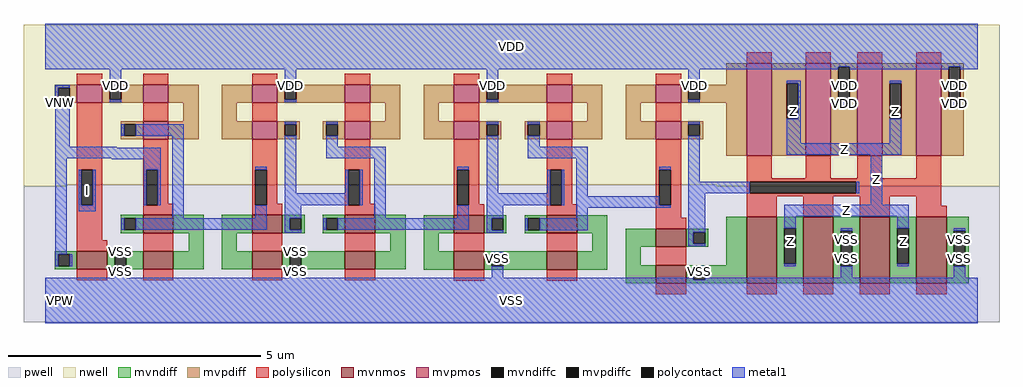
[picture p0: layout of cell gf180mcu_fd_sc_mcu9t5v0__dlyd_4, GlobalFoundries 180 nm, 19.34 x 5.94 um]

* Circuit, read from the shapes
.subckt gf180mcu_fd_sc_mcu9t5v0__dlyd_4 I Z VDD VNW VPW VSS
XM1 VSS I n1 VPW nfet_06v0 w=0.36u l=0.6u
XM2 n2 n1 VSS VPW nfet_06v0 w=0.36u l=0.6u
XM3 n2 n1 n3 VPW nfet_06v0 w=0.36u l=0.6u
XM4 VSS n3 n4 VPW nfet_06v0 w=0.36u l=0.6u
XM5 n5 n3 n4 VPW nfet_06v0 w=0.36u l=0.6u
XM6 n6 n5 VSS VPW nfet_06v0 w=0.36u l=0.6u
XM7 n6 n5 n7 VPW nfet_06v0 w=0.36u l=0.6u
XM8 VSS n7 n8 VPW nfet_06v0 w=0.36u l=0.6u
XM9 n9 n7 n8 VPW nfet_06v0 w=0.36u l=0.6u
XM10 n10 n9 VSS VPW nfet_06v0 w=0.36u l=0.6u
XM11 n10 n9 n11 VPW nfet_06v0 w=0.36u l=0.6u
XM12 VSS n11 n12 VPW nfet_06v0 w=0.36u l=0.6u
XM13 n13 n11 n12 VPW nfet_06v0 w=0.36u l=0.6u
XM14 Z n13 VSS VPW nfet_06v0 w=1.32u l=0.6u m=4
XM15 VDD I n1 VNW pfet_06v0 w=0.36u l=0.5u
XM16 n14 n1 n3 VNW pfet_06v0 w=0.36u l=0.5u
XM17 n14 n1 VDD VNW pfet_06v0 w=0.36u l=0.5u
XM18 n5 n3 n15 VNW pfet_06v0 w=0.36u l=0.5u
XM19 VDD n3 n15 VNW pfet_06v0 w=0.36u l=0.5u
XM20 n16 n5 n7 VNW pfet_06v0 w=0.36u l=0.5u
XM21 n16 n5 VDD VNW pfet_06v0 w=0.36u l=0.5u
XM22 n9 n7 n17 VNW pfet_06v0 w=0.36u l=0.5u
XM23 VDD n7 n17 VNW pfet_06v0 w=0.36u l=0.5u
XM24 n18 n9 n11 VNW pfet_06v0 w=0.36u l=0.5u
XM25 n18 n9 VDD VNW pfet_06v0 w=0.36u l=0.5u
XM26 n13 n11 n19 VNW pfet_06v0 w=0.36u l=0.5u
XM27 VDD n11 n19 VNW pfet_06v0 w=0.36u l=0.5u
XM28 Z n13 VDD VNW pfet_06v0 w=1.83u l=0.5u m=4
.ends

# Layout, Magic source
magic
tech gf180mcuD
magscale 1 10
<< nwell >>
rect -86 460 3782 1094
rect -86 453 86 460
rect 2662 453 3782 460
<< pwell >>
rect 86 453 2662 460
rect -86 -86 3782 453
<< mvnmos >>
rect 388 268 508 340
rect 126 124 246 196
rect 388 124 508 196
rect 820 268 940 340
rect 1188 268 1308 340
rect 820 124 940 196
rect 1188 124 1308 196
rect 1620 267 1740 339
rect 1988 267 2108 339
rect 1620 123 1740 195
rect 1988 123 2108 195
rect 2420 213 2540 285
rect 2420 69 2540 141
rect 2780 69 2900 333
rect 3004 69 3124 333
rect 3228 69 3348 333
rect 3452 69 3572 333
<< mvpmos >>
rect 126 784 226 856
rect 388 784 488 856
rect 388 640 488 712
rect 820 784 920 856
rect 1188 784 1288 856
rect 820 640 920 712
rect 1188 640 1288 712
rect 1620 784 1720 856
rect 1988 784 2088 856
rect 1620 640 1720 712
rect 1988 640 2088 712
rect 2420 784 2520 856
rect 2420 640 2520 712
rect 2780 574 2880 940
rect 3014 574 3114 940
rect 3218 574 3318 940
rect 3452 574 3552 940
<< mvndiff >>
rect 300 327 388 340
rect 300 281 313 327
rect 359 281 388 327
rect 300 268 388 281
rect 508 268 628 340
rect 568 196 628 268
rect 38 183 126 196
rect 38 137 51 183
rect 97 137 126 183
rect 38 124 126 137
rect 246 183 388 196
rect 246 137 275 183
rect 321 137 388 183
rect 246 124 388 137
rect 508 124 628 196
rect 700 268 820 340
rect 940 327 1028 340
rect 940 281 969 327
rect 1015 281 1028 327
rect 940 268 1028 281
rect 1100 327 1188 340
rect 1100 281 1113 327
rect 1159 281 1188 327
rect 1100 268 1188 281
rect 1308 268 1428 340
rect 700 196 760 268
rect 1368 196 1428 268
rect 700 124 820 196
rect 940 183 1188 196
rect 940 137 969 183
rect 1015 137 1188 183
rect 940 124 1188 137
rect 1308 124 1428 196
rect 1500 267 1620 339
rect 1740 326 1828 339
rect 1740 280 1769 326
rect 1815 280 1828 326
rect 1740 267 1828 280
rect 1900 326 1988 339
rect 1900 280 1913 326
rect 1959 280 1988 326
rect 1900 267 1988 280
rect 2108 267 2228 339
rect 1500 195 1560 267
rect 2168 195 2228 267
rect 1500 123 1620 195
rect 1740 182 1988 195
rect 1740 136 1769 182
rect 1815 136 1988 182
rect 1740 123 1988 136
rect 2108 123 2228 195
rect 2300 213 2420 285
rect 2540 272 2628 285
rect 2540 226 2569 272
rect 2615 226 2628 272
rect 2540 213 2628 226
rect 2300 141 2360 213
rect 2700 141 2780 333
rect 2300 69 2420 141
rect 2540 128 2780 141
rect 2540 82 2569 128
rect 2615 82 2780 128
rect 2540 69 2780 82
rect 2900 287 3004 333
rect 2900 147 2929 287
rect 2975 147 3004 287
rect 2900 69 3004 147
rect 3124 277 3228 333
rect 3124 137 3153 277
rect 3199 137 3228 277
rect 3124 69 3228 137
rect 3348 287 3452 333
rect 3348 147 3377 287
rect 3423 147 3452 287
rect 3348 69 3452 147
rect 3572 277 3660 333
rect 3572 137 3601 277
rect 3647 137 3660 277
rect 3572 69 3660 137
<< mvpdiff >>
rect 2700 856 2780 940
rect 38 843 126 856
rect 38 797 51 843
rect 97 797 126 843
rect 38 784 126 797
rect 226 843 388 856
rect 226 797 255 843
rect 301 797 388 843
rect 226 784 388 797
rect 488 784 608 856
rect 548 712 608 784
rect 300 699 388 712
rect 300 653 313 699
rect 359 653 388 699
rect 300 640 388 653
rect 488 640 608 712
rect 700 784 820 856
rect 920 843 1188 856
rect 920 797 949 843
rect 995 797 1188 843
rect 920 784 1188 797
rect 1288 784 1408 856
rect 700 712 760 784
rect 1348 712 1408 784
rect 700 640 820 712
rect 920 699 1008 712
rect 920 653 949 699
rect 995 653 1008 699
rect 920 640 1008 653
rect 1100 699 1188 712
rect 1100 653 1113 699
rect 1159 653 1188 699
rect 1100 640 1188 653
rect 1288 640 1408 712
rect 1500 784 1620 856
rect 1720 843 1988 856
rect 1720 797 1749 843
rect 1795 797 1988 843
rect 1720 784 1988 797
rect 2088 784 2208 856
rect 1500 712 1560 784
rect 2148 712 2208 784
rect 1500 640 1620 712
rect 1720 699 1808 712
rect 1720 653 1749 699
rect 1795 653 1808 699
rect 1720 640 1808 653
rect 1900 699 1988 712
rect 1900 653 1913 699
rect 1959 653 1988 699
rect 1900 640 1988 653
rect 2088 640 2208 712
rect 2300 784 2420 856
rect 2520 843 2780 856
rect 2520 797 2549 843
rect 2595 797 2780 843
rect 2520 784 2780 797
rect 2300 712 2360 784
rect 2300 640 2420 712
rect 2520 699 2608 712
rect 2520 653 2549 699
rect 2595 653 2608 699
rect 2520 640 2608 653
rect 2700 574 2780 784
rect 2880 861 3014 940
rect 2880 721 2939 861
rect 2985 721 3014 861
rect 2880 574 3014 721
rect 3114 927 3218 940
rect 3114 787 3143 927
rect 3189 787 3218 927
rect 3114 574 3218 787
rect 3318 861 3452 940
rect 3318 721 3347 861
rect 3393 721 3452 861
rect 3318 574 3452 721
rect 3552 927 3640 940
rect 3552 787 3581 927
rect 3627 787 3640 927
rect 3552 574 3640 787
<< mvndiffc >>
rect 313 281 359 327
rect 51 137 97 183
rect 275 137 321 183
rect 969 281 1015 327
rect 1113 281 1159 327
rect 969 137 1015 183
rect 1769 280 1815 326
rect 1913 280 1959 326
rect 1769 136 1815 182
rect 2569 226 2615 272
rect 2569 82 2615 128
rect 2929 147 2975 287
rect 3153 137 3199 277
rect 3377 147 3423 287
rect 3601 137 3647 277
<< mvpdiffc >>
rect 51 797 97 843
rect 255 797 301 843
rect 313 653 359 699
rect 949 797 995 843
rect 949 653 995 699
rect 1113 653 1159 699
rect 1749 797 1795 843
rect 1749 653 1795 699
rect 1913 653 1959 699
rect 2549 797 2595 843
rect 2549 653 2595 699
rect 2939 721 2985 861
rect 3143 787 3189 927
rect 3347 721 3393 861
rect 3581 787 3627 927
<< polysilicon >>
rect 2780 940 2880 984
rect 3014 940 3114 984
rect 3218 940 3318 984
rect 3452 940 3552 984
rect 126 856 226 900
rect 388 856 488 900
rect 820 856 920 900
rect 1188 856 1288 900
rect 1620 856 1720 900
rect 1988 856 2088 900
rect 2420 856 2520 900
rect 126 519 226 784
rect 388 712 488 784
rect 820 712 920 784
rect 1188 712 1288 784
rect 1620 712 1720 784
rect 1988 712 2088 784
rect 2420 712 2520 784
rect 126 379 143 519
rect 189 379 226 519
rect 126 240 226 379
rect 388 519 488 640
rect 388 379 401 519
rect 447 384 488 519
rect 820 519 920 640
rect 447 379 508 384
rect 388 340 508 379
rect 820 379 833 519
rect 879 384 920 519
rect 1188 519 1288 640
rect 879 379 940 384
rect 820 340 940 379
rect 1188 379 1201 519
rect 1247 384 1288 519
rect 1620 519 1720 640
rect 1247 379 1308 384
rect 1188 340 1308 379
rect 1620 379 1633 519
rect 1679 383 1720 519
rect 1988 519 2088 640
rect 1679 379 1740 383
rect 126 196 246 240
rect 388 196 508 268
rect 1620 339 1740 379
rect 1988 379 2001 519
rect 2047 383 2088 519
rect 2420 519 2520 640
rect 2047 379 2108 383
rect 1988 339 2108 379
rect 2420 379 2433 519
rect 2479 379 2520 519
rect 820 196 940 268
rect 1188 196 1308 268
rect 2420 329 2520 379
rect 2780 485 2880 574
rect 3014 485 3114 574
rect 3218 485 3318 574
rect 3452 485 3552 574
rect 2780 472 3552 485
rect 2780 426 2793 472
rect 3215 426 3552 472
rect 2780 413 3552 426
rect 2780 333 2900 413
rect 3004 333 3124 413
rect 3228 333 3348 413
rect 3452 377 3552 413
rect 3452 333 3572 377
rect 2420 285 2540 329
rect 1620 195 1740 267
rect 1988 195 2108 267
rect 126 80 246 124
rect 388 80 508 124
rect 820 80 940 124
rect 1188 80 1308 124
rect 2420 141 2540 213
rect 1620 79 1740 123
rect 1988 79 2108 123
rect 2420 25 2540 69
rect 2780 25 2900 69
rect 3004 25 3124 69
rect 3228 25 3348 69
rect 3452 25 3572 69
<< polycontact >>
rect 143 379 189 519
rect 401 379 447 519
rect 833 379 879 519
rect 1201 379 1247 519
rect 1633 379 1679 519
rect 2001 379 2047 519
rect 2433 379 2479 519
rect 2793 426 3215 472
<< metal1 >>
rect 0 927 3696 1098
rect 0 918 3143 927
rect 40 843 97 854
rect 40 797 51 843
rect 40 611 97 797
rect 255 843 301 918
rect 255 786 301 797
rect 949 843 995 918
rect 949 786 995 797
rect 1749 843 1795 918
rect 1749 786 1795 797
rect 2549 843 2595 918
rect 2549 786 2595 797
rect 2939 861 2994 872
rect 2985 721 2994 861
rect 3189 918 3581 927
rect 3143 776 3189 787
rect 3347 861 3393 872
rect 949 699 995 710
rect 302 653 313 699
rect 359 653 550 699
rect 40 607 283 611
rect 40 565 458 607
rect 40 183 86 565
rect 264 561 458 565
rect 390 519 458 561
rect 132 379 143 519
rect 189 379 200 519
rect 390 379 401 519
rect 447 379 458 519
rect 132 354 200 379
rect 504 327 550 653
rect 833 519 879 530
rect 833 327 879 379
rect 302 281 313 327
rect 359 281 879 327
rect 949 425 995 653
rect 1113 699 1159 710
rect 1113 611 1159 653
rect 1749 699 1795 710
rect 1113 565 1350 611
rect 1190 425 1201 519
rect 949 379 1201 425
rect 1247 379 1258 519
rect 949 327 1015 379
rect 1304 327 1350 565
rect 1633 519 1679 530
rect 1633 327 1679 379
rect 949 281 969 327
rect 1102 281 1113 327
rect 1159 281 1679 327
rect 1749 425 1795 653
rect 1913 699 1959 710
rect 1913 611 1959 653
rect 2549 699 2595 710
rect 1913 565 2150 611
rect 1990 425 2001 519
rect 1749 379 2001 425
rect 2047 379 2058 519
rect 2104 414 2150 565
rect 2433 519 2479 530
rect 2104 379 2433 414
rect 1749 326 1815 379
rect 2104 368 2479 379
rect 2549 472 2595 653
rect 2939 624 2994 721
rect 3627 918 3696 927
rect 3581 776 3627 787
rect 3347 624 3393 721
rect 2939 578 3393 624
rect 2549 426 2793 472
rect 3215 426 3226 472
rect 2104 326 2150 368
rect 949 270 1015 281
rect 1749 280 1769 326
rect 1902 280 1913 326
rect 1959 280 2150 326
rect 1749 269 1815 280
rect 2549 272 2615 426
rect 3272 380 3318 578
rect 2549 226 2569 272
rect 2549 215 2615 226
rect 2929 334 3423 380
rect 2929 287 2975 334
rect 275 183 321 194
rect 40 137 51 183
rect 97 137 108 183
rect 275 90 321 137
rect 969 183 1015 194
rect 969 90 1015 137
rect 1769 182 1815 193
rect 1769 90 1815 136
rect 2569 128 2615 139
rect 2929 136 2975 147
rect 3153 277 3199 288
rect 0 82 2569 90
rect 3153 90 3199 137
rect 3377 287 3423 334
rect 3377 136 3423 147
rect 3601 277 3647 288
rect 3601 90 3647 137
rect 2615 82 3696 90
rect 0 -90 3696 82
<< labels >>
flabel metal1 s 132 354 200 519 0 FreeSans 200 0 0 0 I
port 1 nsew default input
flabel metal1 s 0 918 3696 1098 0 FreeSans 200 0 0 0 VDD
port 3 nsew power bidirectional abutment
flabel metal1 s 3601 194 3647 288 0 FreeSans 200 0 0 0 VSS
port 6 nsew ground bidirectional abutment
flabel metal1 s 3347 624 3393 872 0 FreeSans 200 0 0 0 Z
port 2 nsew default output
flabel nwell s 10 734 110 834 0 FreeSans 400 0 0 0 VNW
port 4 nsew power bidirectional
flabel pwell s 10 -50 110 50 0 FreeSans 400 0 0 0 VPW
port 5 nsew ground bidirectional
rlabel metal1 s 2939 624 2994 872 1 Z
port 2 nsew default output
rlabel metal1 s 2939 578 3393 624 1 Z
port 2 nsew default output
rlabel metal1 s 3272 380 3318 578 1 Z
port 2 nsew default output
rlabel metal1 s 2929 334 3423 380 1 Z
port 2 nsew default output
rlabel metal1 s 3377 136 3423 334 1 Z
port 2 nsew default output
rlabel metal1 s 2929 136 2975 334 1 Z
port 2 nsew default output
rlabel metal1 s 3581 786 3627 918 1 VDD
port 3 nsew power bidirectional abutment
rlabel metal1 s 3143 786 3189 918 1 VDD
port 3 nsew power bidirectional abutment
rlabel metal1 s 2549 786 2595 918 1 VDD
port 3 nsew power bidirectional abutment
rlabel metal1 s 1749 786 1795 918 1 VDD
port 3 nsew power bidirectional abutment
rlabel metal1 s 949 786 995 918 1 VDD
port 3 nsew power bidirectional abutment
rlabel metal1 s 255 786 301 918 1 VDD
port 3 nsew power bidirectional abutment
rlabel metal1 s 3581 776 3627 786 1 VDD
port 3 nsew power bidirectional abutment
rlabel metal1 s 3143 776 3189 786 1 VDD
port 3 nsew power bidirectional abutment
rlabel metal1 s 3153 194 3199 288 1 VSS
port 6 nsew ground bidirectional abutment
rlabel metal1 s 3601 193 3647 194 1 VSS
port 6 nsew ground bidirectional abutment
rlabel metal1 s 3153 193 3199 194 1 VSS
port 6 nsew ground bidirectional abutment
rlabel metal1 s 969 193 1015 194 1 VSS
port 6 nsew ground bidirectional abutment
rlabel metal1 s 275 193 321 194 1 VSS
port 6 nsew ground bidirectional abutment
rlabel metal1 s 3601 139 3647 193 1 VSS
port 6 nsew ground bidirectional abutment
rlabel metal1 s 3153 139 3199 193 1 VSS
port 6 nsew ground bidirectional abutment
rlabel metal1 s 1769 139 1815 193 1 VSS
port 6 nsew ground bidirectional abutment
rlabel metal1 s 969 139 1015 193 1 VSS
port 6 nsew ground bidirectional abutment
rlabel metal1 s 275 139 321 193 1 VSS
port 6 nsew ground bidirectional abutment
rlabel metal1 s 3601 90 3647 139 1 VSS
port 6 nsew ground bidirectional abutment
rlabel metal1 s 3153 90 3199 139 1 VSS
port 6 nsew ground bidirectional abutment
rlabel metal1 s 2569 90 2615 139 1 VSS
port 6 nsew ground bidirectional abutment
rlabel metal1 s 1769 90 1815 139 1 VSS
port 6 nsew ground bidirectional abutment
rlabel metal1 s 969 90 1015 139 1 VSS
port 6 nsew ground bidirectional abutment
rlabel metal1 s 275 90 321 139 1 VSS
port 6 nsew ground bidirectional abutment
rlabel metal1 s 0 -90 3696 90 1 VSS
port 6 nsew ground bidirectional abutment
<< properties >>
string FIXED_BBOX 0 0 3696 1008
string GDS_END 763338
string GDS_FILE $PDKPATH/libs.ref/gf180mcu_fd_sc_mcu9t5v0/gds/gf180mcu_fd_sc_mcu9t5v0.gds
string GDS_START 755012
string LEFclass core
string LEFsite GF018hv5v_green_sc9
string LEFsymmetry X Y
<< end >>
